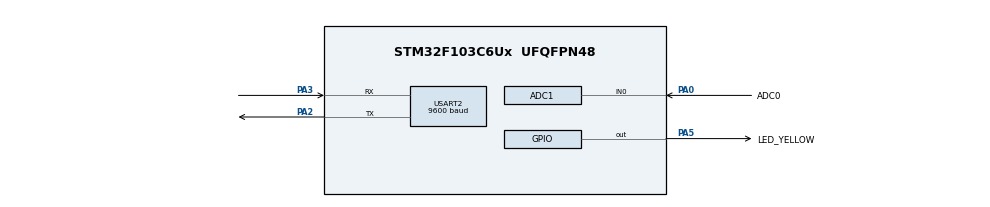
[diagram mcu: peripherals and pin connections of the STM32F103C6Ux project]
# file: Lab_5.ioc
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ADC1.Channel-0\#ChannelRegularConversion=ADC_CHANNEL_0
ADC1.ContinuousConvMode=ENABLE
ADC1.NbrOfConversionFlag=1
ADC1.Rank-0\#ChannelRegularConversion=1
ADC1.SamplingTime-0\#ChannelRegularConversion=ADC_SAMPLETIME_1CYCLE_5
ADC1.master=1
Mcu.Family=STM32F1
Mcu.Name=STM32F103C6Ux
Mcu.Package=UFQFPN48
NVIC.PriorityGroup=NVIC_PRIORITYGROUP_4
NVIC.TIM2_IRQn=true\:0\:0\:false\:false\:true\:true\:true
NVIC.USART2_IRQn=true\:0\:0\:false\:false\:true\:true\:true
PA0-WKUP.GPIO_Label=ADC0
PA0-WKUP.Signal=ADCx_IN0
PA2.Mode=Asynchronous
PA2.Signal=USART2_TX
PA3.Mode=Asynchronous
PA3.Signal=USART2_RX
PA5.GPIO_Label=LED_YELLOW
PA5.Signal=GPIO_Output
ProjectManager.HeapSize=0x200
ProjectManager.StackSize=0x400
ProjectManager.TargetToolchain=STM32CubeIDE
RCC.APB1Freq_Value=8000000
RCC.APB2Freq_Value=8000000
SH.ADCx_IN0.0=ADC1_IN0,IN0
TIM2.Period=9
TIM2.Prescaler=7999
USART2.BaudRate=9600
USART2.VirtualMode=VM_ASYNC
VP_SYS_VS_ND.Mode=No_Debug
VP_TIM2_VS_ClockSourceINT.Mode=Internal
board=custom

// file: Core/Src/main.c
/* USER CODE BEGIN Header */
/**
  ******************************************************************************
  * @file           : main.c
  * @brief          : Main program body
  ******************************************************************************
  * @attention
  *
  * <h2><center>&copy; Copyright (c) 2022 STMicroelectronics.
  * All rights reserved.</center></h2>
  *
  * This software component is licensed by ST under BSD 3-Clause license,
  * the "License"; You may not use this file except in compliance with the
  * License. You may obtain a copy of the License at:
  *                        opensource.org/licenses/BSD-3-Clause
  *
  ******************************************************************************
  */
/* USER CODE END Header */
#include "main.h"

/* USER CODE BEGIN Includes */
#include "global.h"
#include "software_timer.h"
#include "command_parser_fsm.h"
#include "uart_fsm.h"
/* USER CODE END Includes */

ADC_HandleTypeDef hadc1;

TIM_HandleTypeDef htim2;

UART_HandleTypeDef huart2;

void SystemClock_Config(void);
static void MX_TIM2_Init(void);
static void MX_GPIO_Init(void);
static void MX_USART2_UART_Init(void);
static void MX_ADC1_Init(void);

/* USER CODE BEGIN 0 */

//unit8_t temp = 0;

void HAL_UART_RxCpltCallback(UART_HandleTypeDef *huart){
	if(huart->Instance == USART2){
		buffer[index_buffer++] = character;
		if(index_buffer == MAX_SIZE) index_buffer = 0;
		buffer_flag = 1;
		HAL_UART_Transmit(&huart2, &character, 1, 50);
		HAL_UART_Receive_IT(&huart2, &character, 1);
	}
}

/* USER CODE END 0 */

int main(void)
{

  /* MCU Configuration--------------------------------------------------------*/

  /* Reset of all peripherals, Initializes the Flash interface and the Systick. */
  HAL_Init();

  /* Configure the system clock */
  SystemClock_Config();

  /* Initialize all configured peripherals */
  MX_TIM2_Init();
  MX_GPIO_Init();
  MX_USART2_UART_Init();
  MX_ADC1_Init();
  /* USER CODE BEGIN 2 */
  HAL_TIM_Base_Start_IT(&htim2);
  HAL_UART_Receive_IT(&huart2, &character, 1);
  /* USER CODE END 2 */

  /* Infinite loop */
  /* USER CODE BEGIN WHILE */
  set_timer1(1000);
  reset_timer2();

  while (1)
  {

	  if (timer1_flag == 1) {
		  HAL_GPIO_TogglePin(LED_YELLOW_GPIO_Port, LED_YELLOW_Pin);
		  set_timer1(1000);
	  }

	  if (buffer_flag == 1) {
		  command_parser_fsm();
		  buffer_flag = 0;
	  }

	  uart_fsm(hadc1, huart2);

    /* USER CODE END WHILE */

  }
}

void SystemClock_Config(void)
{
  RCC_OscInitTypeDef RCC_OscInitStruct = {0};
  RCC_ClkInitTypeDef RCC_ClkInitStruct = {0};
  RCC_PeriphCLKInitTypeDef PeriphClkInit = {0};

  /** Initializes the RCC Oscillators according to the specified parameters
  * in the RCC_OscInitTypeDef structure.
  */
  RCC_OscInitStruct.OscillatorType = RCC_OSCILLATORTYPE_HSI;
  RCC_OscInitStruct.HSIState = RCC_HSI_ON;
  RCC_OscInitStruct.HSICalibrationValue = RCC_HSICALIBRATION_DEFAULT;
  RCC_OscInitStruct.PLL.PLLState = RCC_PLL_NONE;
  if (HAL_RCC_OscConfig(&RCC_OscInitStruct) != HAL_OK)
  {
    Error_Handler();
  }
  /** Initializes the CPU, AHB and APB buses clocks
  */
  RCC_ClkInitStruct.ClockType = RCC_CLOCKTYPE_HCLK|RCC_CLOCKTYPE_SYSCLK
                              |RCC_CLOCKTYPE_PCLK1|RCC_CLOCKTYPE_PCLK2;
  RCC_ClkInitStruct.SYSCLKSource = RCC_SYSCLKSOURCE_HSI;
  RCC_ClkInitStruct.AHBCLKDivider = RCC_SYSCLK_DIV1;
  RCC_ClkInitStruct.APB1CLKDivider = RCC_HCLK_DIV1;
  RCC_ClkInitStruct.APB2CLKDivider = RCC_HCLK_DIV1;

  if (HAL_RCC_ClockConfig(&RCC_ClkInitStruct, FLASH_LATENCY_0) != HAL_OK)
  {
    Error_Handler();
  }
  PeriphClkInit.PeriphClockSelection = RCC_PERIPHCLK_ADC;
  PeriphClkInit.AdcClockSelection = RCC_ADCPCLK2_DIV2;
  if (HAL_RCCEx_PeriphCLKConfig(&PeriphClkInit) != HAL_OK)
  {
    Error_Handler();
  }
}

static void MX_ADC1_Init(void)
{

  ADC_ChannelConfTypeDef sConfig = {0};

  /** Common config
  */
  hadc1.Instance = ADC1;
  hadc1.Init.ScanConvMode = ADC_SCAN_DISABLE;
  hadc1.Init.ContinuousConvMode = ENABLE;
  hadc1.Init.DiscontinuousConvMode = DISABLE;
  hadc1.Init.ExternalTrigConv = ADC_SOFTWARE_START;
  hadc1.Init.DataAlign = ADC_DATAALIGN_RIGHT;
  hadc1.Init.NbrOfConversion = 1;
  if (HAL_ADC_Init(&hadc1) != HAL_OK)
  {
    Error_Handler();
  }
  /** Configure Regular Channel
  */
  sConfig.Channel = ADC_CHANNEL_0;
  sConfig.Rank = ADC_REGULAR_RANK_1;
  sConfig.SamplingTime = ADC_SAMPLETIME_1CYCLE_5;
  if (HAL_ADC_ConfigChannel(&hadc1, &sConfig) != HAL_OK)
  {
    Error_Handler();
  }

}

static void MX_TIM2_Init(void)
{

  TIM_ClockConfigTypeDef sClockSourceConfig = {0};
  TIM_MasterConfigTypeDef sMasterConfig = {0};

  htim2.Instance = TIM2;
  htim2.Init.Prescaler = 7999;
  htim2.Init.CounterMode = TIM_COUNTERMODE_UP;
  htim2.Init.Period = 9;
  htim2.Init.ClockDivision = TIM_CLOCKDIVISION_DIV1;
  htim2.Init.AutoReloadPreload = TIM_AUTORELOAD_PRELOAD_DISABLE;
  if (HAL_TIM_Base_Init(&htim2) != HAL_OK)
  {
    Error_Handler();
  }
  sClockSourceConfig.ClockSource = TIM_CLOCKSOURCE_INTERNAL;
  if (HAL_TIM_ConfigClockSource(&htim2, &sClockSourceConfig) != HAL_OK)
  {
    Error_Handler();
  }
  sMasterConfig.MasterOutputTrigger = TIM_TRGO_RESET;
  sMasterConfig.MasterSlaveMode = TIM_MASTERSLAVEMODE_DISABLE;
  if (HAL_TIMEx_MasterConfigSynchronization(&htim2, &sMasterConfig) != HAL_OK)
  {
    Error_Handler();
  }

}

static void MX_USART2_UART_Init(void)
{

  huart2.Instance = USART2;
  huart2.Init.BaudRate = 9600;
  huart2.Init.WordLength = UART_WORDLENGTH_8B;
  huart2.Init.StopBits = UART_STOPBITS_1;
  huart2.Init.Parity = UART_PARITY_NONE;
  huart2.Init.Mode = UART_MODE_TX_RX;
  huart2.Init.HwFlowCtl = UART_HWCONTROL_NONE;
  huart2.Init.OverSampling = UART_OVERSAMPLING_16;
  if (HAL_UART_Init(&huart2) != HAL_OK)
  {
    Error_Handler();
  }

}

static void MX_GPIO_Init(void)
{
  GPIO_InitTypeDef GPIO_InitStruct = {0};

  /* GPIO Ports Clock Enable */
  __HAL_RCC_GPIOA_CLK_ENABLE();

  /*Configure GPIO pin Output Level */
  HAL_GPIO_WritePin(LED_YELLOW_GPIO_Port, LED_YELLOW_Pin, GPIO_PIN_RESET);

  /*Configure GPIO pin : LED_YELLOW_Pin */
  GPIO_InitStruct.Pin = LED_YELLOW_Pin;
  GPIO_InitStruct.Mode = GPIO_MODE_OUTPUT_PP;
  GPIO_InitStruct.Pull = GPIO_NOPULL;
  GPIO_InitStruct.Speed = GPIO_SPEED_FREQ_LOW;
  HAL_GPIO_Init(LED_YELLOW_GPIO_Port, &GPIO_InitStruct);

}

/* USER CODE BEGIN 4 */
void HAL_TIM_PeriodElapsedCallback(TIM_HandleTypeDef *htim){
	timerRun();
}
/* USER CODE END 4 */

void Error_Handler(void)
{
  __disable_irq();
  while (1)
  {
  }
}

/************************ (C) COPYRIGHT STMicroelectronics *****END OF FILE****/
